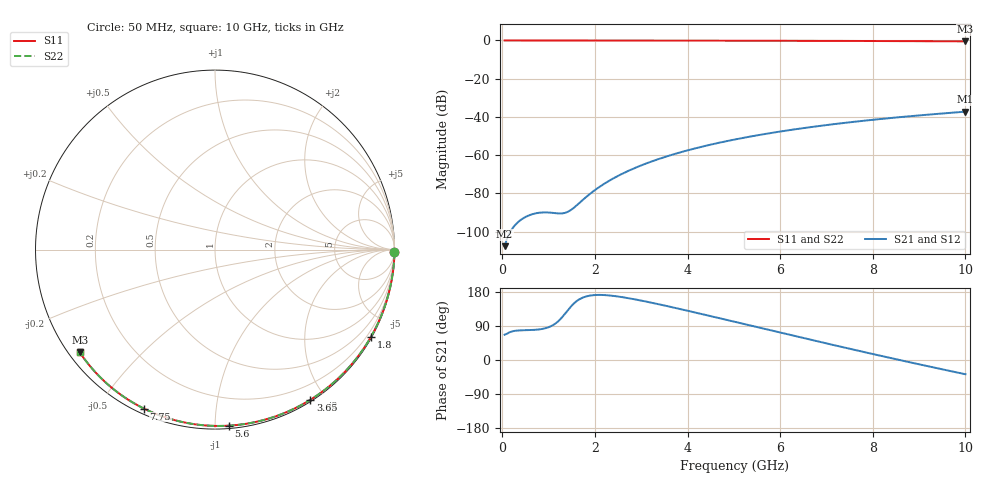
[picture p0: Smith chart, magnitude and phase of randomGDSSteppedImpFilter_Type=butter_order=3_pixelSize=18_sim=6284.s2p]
! freq	dB(S11)	phase(S11)	dB(S12)	phase(S12)
!  dB(S21)	phase(S21)	dB(S22)	phase(S22)
!S-par simulation data
#  GHz  S  DB  R 50
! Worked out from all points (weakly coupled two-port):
!   200 points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, 50 MHz to 10 GHz, reference 50 ohm
!   highest |S21| = -37.25 dB at 10 GHz (marker M1); lowest = -107.6 dB at 50 MHz (marker M2)
!   lowest |S11| = -0.5 dB at 10 GHz (marker M3), VSWR 36.24, Z = 1.54 - j16.8 ohm
!   |S11| at or under -10 dB: nowhere
!   |S22| runs from -0.5 to 0.0 dB; largest |S21 - S12| = 0
!   S11 on the Smith chart (normalised r, x): 50 MHz: open; 1.8 GHz: 0.03, -3.85; 3.65 GHz: 0.02, -1.82; 5.6 GHz: 0.02, -1.08; 7.75 GHz: 0.02, -0.65; 10 GHz: 0.03, -0.34
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0.05  -0.00 -0.8  -107.59 66.7  -107.59 66.7  -0.00 -0.8
0.45  -0.01 -7.4  -93.03 78.5  -93.03 78.5  -0.01 -7.4
0.9  -0.02 -14.7  -89.93 82.9  -89.93 82.9  -0.02 -14.7
1.75  -0.04 -28.3  -83.14 165.2  -83.14 165.2  -0.04 -28.3
1.8  -0.04 -29.1  -82.09 167.3  -82.09 167.3  -0.04 -29.1
1.9  -0.04 -30.7  -80.11 170.1  -80.11 170.1  -0.04 -30.7
2.05  -0.04 -33.1  -77.38 171.7  -77.38 171.7  -0.04 -33.1
2.25  -0.05 -36.2  -74.22 171.0  -74.22 171.0  -0.05 -36.2
2.45  -0.05 -39.3  -71.46 168.4  -71.46 168.4  -0.05 -39.3
2.65  -0.05 -42.4  -69.01 164.7  -69.01 164.7  -0.05 -42.4
3  -0.06 -47.8  -65.34 156.8  -65.34 156.8  -0.06 -47.8
3.4  -0.07 -53.9  -61.81 146.6  -61.81 146.6  -0.07 -53.9
3.65  -0.08 -57.6  -59.89 139.8  -59.89 139.8  -0.08 -57.6
4.3  -0.09 -67.2  -55.62 121.5  -55.62 121.5  -0.09 -67.2
5.05  -0.12 -77.9  -51.65 99.9  -51.65 99.9  -0.12 -77.9
5.6  -0.14 -85.5  -49.21 84.0  -49.21 84.0  -0.14 -85.5
6.15  -0.16 -93.0  -47.08 68.1  -47.08 68.1  -0.16 -93.0
6.7  -0.19 -100.4  -45.19 52.3  -45.19 52.3  -0.19 -100.4
7.75  -0.26 -114.0  -42.13 22.7  -42.13 22.7  -0.26 -114.1
8.35  -0.31 -121.7  -40.64 6.2  -40.64 6.2  -0.31 -121.7
9.2  -0.39 -132.5  -38.79 -16.7  -38.79 -16.7  -0.39 -132.5
10  -0.48 -142.7  -37.25 -37.5  -37.25 -37.5  -0.48 -142.7
